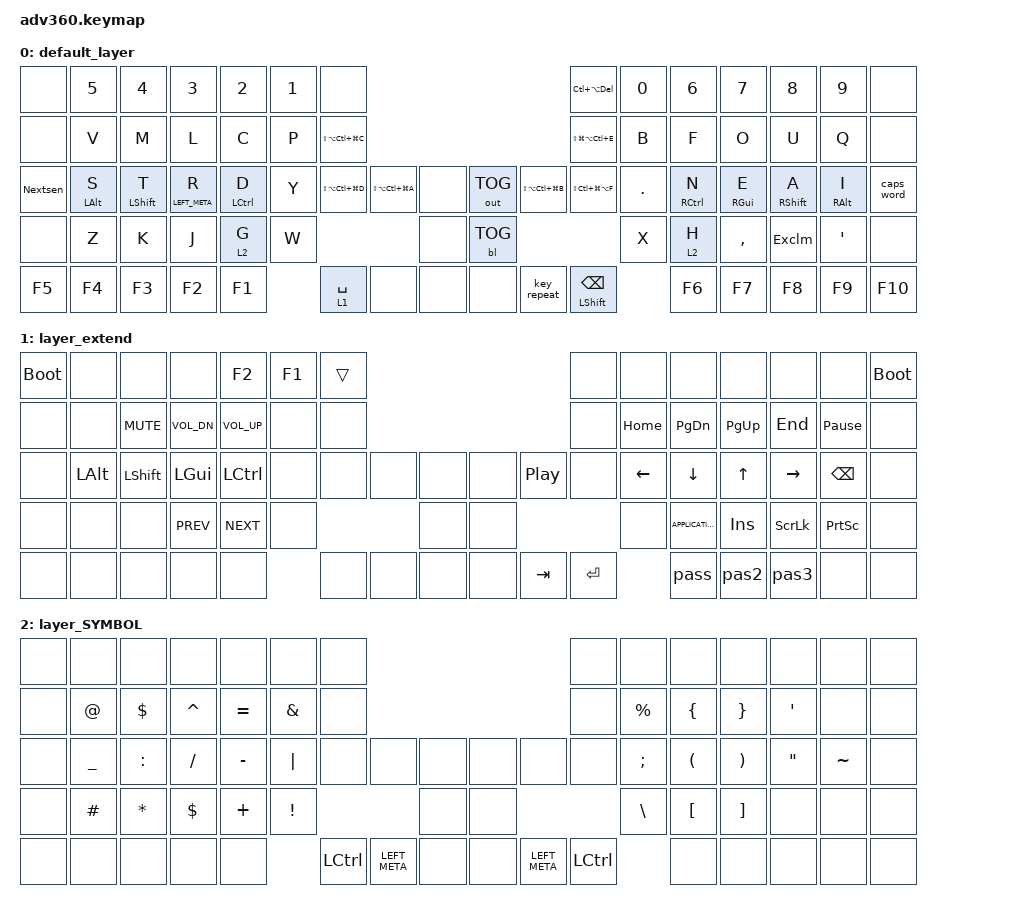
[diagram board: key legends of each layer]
/*
 * Copyright (c) 2020 The ZMK Contributors
 *
 * SPDX-License-Identifier: MIT
 */
/* THIS FILE WAS GENERATED!
 *
 * This file was generated automatically. You may or may not want to
 * edit it directly.
 */

#include <behaviors.dtsi>
#include <dt-bindings/zmk/backlight.h>
#include <dt-bindings/zmk/keys.h>
#include <dt-bindings/zmk/outputs.h>

/ {
    behaviors {
        #include "macros.dtsi"
    #include "version.dtsi"

        hm: homerow_mods {
            compatible = "zmk,behavior-hold-tap";
            label = "HOMEROW_MODS";
            #binding-cells = <2>;
            tapping-term-ms = <200>;
            quick_tap_ms = <175>;
            flavor = "tap-preferred";
            bindings = <&kp>, <&kp>;
        };

        hml: hml {
            compatible = "zmk,behavior-hold-tap";
            label = "HML";
            bindings = <&kp>, <&kp>;

            #binding-cells = <2>;
            flavor = "balanced";
            tapping-term-ms = <280>;
            quick-tap-ms = <175>;
            require-prior-idle-ms = <175>;
            hold-trigger-key-positions = <7 8 9 10 11 12 13 21 22 23 24 25 26 27 38 39 40 41 42 43 44 45 54 55 56 57 58 59 69 70 71 72 73 74 75 37 38 53 68 69>;
            hold-trigger-on-release;
        };

        hmr: hmr {
            compatible = "zmk,behavior-hold-tap";
            label = "HMR";
            bindings = <&kp>, <&kp>;

            #binding-cells = <2>;
            tapping-term-ms = <280>;
            quick-tap-ms = <175>;
            require-prior-idle-ms = <175>;
            flavor = "balanced";
            hold-trigger-key-positions = <0 1 2 3 4 5 6 14 15 16 17 18 19 20 28 29 30 31 32 33 34 35 36 46 47 48 49 50 51 52 60 61 62 63 64 65 66 67>;
            hold-trigger-on-release;
        };

        Exclm: Exclm {
            compatible = "zmk,behavior-mod-morph";
            label = "EXCLM";
            bindings = <&kp EXCL>, <&kp QUESTION>;

            #binding-cells = <0>;
            mods = <(MOD_LSFT)>;
        };

        space: space {
            compatible = "zmk,behavior-hold-tap";
            label = "SPACE";
            bindings = <&sk>, <&kp>;

            #binding-cells = <2>;
            flavor = "balanced";
            quick-tap-ms = <175>;
            require-prior-idle-ms = <175>;
            tapping-term-ms = <280>;
        };

        layer: layer {
            compatible = "zmk,behavior-hold-tap";
            label = "LAYER";
            bindings = <&mo>, <&kp>;

            #binding-cells = <2>;
            tapping-term-ms = <280>;
            quick-tap-ms = <175>;
            require-prior-idle-ms = <175>;
            flavor = "balanced";
        };

        ad_magic: adaptive_magic {
            compatible = "zmk,behavior-antecedent-morph";
            label = "ADAPTIVE_MAGIC";
            #binding-cells = <0>;
            defaults = <&none>;
            bindings = <&kp K>;
            antecedents = <S>;
            max-delay-ms = <250>;
        };
    };

    macros {
        pass: pass {
            compatible = "zmk,behavior-macro";
            #binding-cells = <0>;
            bindings = <&none &kp N1 &kp Q &kp A &kp Z &kp N2 &kp W &kp R &kp X &kp EXCL &kp LS(Q) &kp LS(A) &kp LS(Z) &kp AT &kp LS(W) &kp LS(R) &kp LS(X)>;
            label = "PASS";
        };

        pas2: pas2 {
            compatible = "zmk,behavior-macro";
            #binding-cells = <0>;
            bindings = <&none &kp LS(C) &kp Y &kp B &kp E &kp R &kp LS(W) &kp A &kp R &kp R &kp I &kp O &kp R &kp S &kp N1 &kp N2 &kp N3 &kp EXCL &kp AT &kp POUND>;
            label = "PAS2";
        };

        pas3: pas3 {
            compatible = "zmk,behavior-macro";
            #binding-cells = <0>;
            bindings = <&none &kp N1 &kp Q &kp A &kp Z &kp N2 &kp W &kp S &kp X &kp EXCL &kp LS(Q) &kp LS(A) &kp LS(Z) &kp AT &kp LS(W) &kp LS(S) &kp LS(X)>;
            label = "PAS3";
        };

        org: org {
            compatible = "zmk,behavior-macro";
            #binding-cells = <0>;
            bindings = <&kp PERIOD>;
            label = "ORG";
        };

        Nextsen: Nextsen {
            compatible = "zmk,behavior-macro";
            #binding-cells = <0>;
            bindings = <&kp PERIOD &kp SPACE &sk LEFT_SHIFT>;
            label = "NEXTSEN";
        };
    };

    combos {
        compatible = "zmk,combos";

        escape {
            bindings = <&kp ESCAPE>;
            key-positions = <17 18>;
            require-prior-idle-ms = <175>;
            layers = <0>;
        };

        Repeat {
            bindings = <&key_repeat>;
            key-positions = <31 32>;
            require-prior-idle-ms = <175>;
            layers = <0>;
        };
    };

    keymap {
        compatible = "zmk,keymap";

        default_layer {
            bindings = <
&none     &kp N5           &kp N4             &kp N3            &kp N2        &kp N1  &none                                                                                         &kp LC(LA(DELETE))           &kp N0      &kp N6        &kp N7            &kp N8              &kp NUMBER_9      &none
&none     &kp V            &kp M              &kp L             &kp C         &kp P   &kp LS(LA(LC(LG(C))))                                                                         &kp LS(LG(LA(LC(E))))        &kp B       &kp F         &kp O             &kp U               &kp Q             &none
&Nextsen  &hml LEFT_ALT S  &hml LEFT_SHIFT T  &hml LEFT_META R  &hml LCTRL D  &kp Y   &kp LS(LA(LC(LG(D))))  &kp LS(LA(LC(LG(A))))  &none      &out OUT_TOG  &kp LS(LA(LC(LG(B))))  &kp LS(LC(LG(LA(F))))        &kp PERIOD  &hmr RCTRL N  &hmr RIGHT_GUI E  &hmr RIGHT_SHIFT A  &hmr RIGHT_ALT I  &caps_word
&none     &kp Z            &kp K              &kp J             &layer 2 G    &kp W                                                 &none      &bl BL_TOG                                                        &kp X       &layer 2 H    &kp COMMA         &Exclm              &kp SINGLE_QUOTE  &none
&kp F5    &kp F4           &kp F3             &kp F2            &kp F1                &lt 1 SPACE            &none                  &none      &none         &key_repeat            &space LEFT_SHIFT BACKSPACE              &kp F6        &kp F7            &kp F8              &kp F9            &kp F10
            >;
        };

        layer_extend {
            bindings = <
&bootloader  &none         &none       &none         &kp F2           &kp F1  &trans                                             &none      &none           &none              &none       &none           &none            &bootloader
&none        &none         &kp K_MUTE  &kp C_VOL_DN  &kp C_VOLUME_UP  &none   &none                                              &none      &kp HOME        &kp PG_DN          &kp PG_UP   &kp END         &kp PAUSE_BREAK  &none
&none        &kp LEFT_ALT  &kp LSHFT   &kp LEFT_GUI  &kp LCTRL        &none   &none   &none  &none      &none  &kp C_PLAY_PAUSE  &none      &kp LEFT_ARROW  &kp DOWN           &kp UP      &kp RIGHT       &kp BACKSPACE    &none
&none        &none         &none       &kp C_PREV    &kp C_NEXT       &none                  &none      &none                               &none           &kp K_APPLICATION  &kp INSERT  &kp SCROLLLOCK  &kp PRINTSCREEN  &none
&none        &none         &none       &none         &none                    &none   &none  &none      &none  &kp TAB           &kp ENTER                  &pass              &pas2       &pas3           &none            &none
            >;
        };

        layer_SYMBOL {
            bindings = <
&none  &none      &none       &none       &none      &none            &none                                                      &none      &none          &none                 &none                  &none              &none      &none
&none  &kp AT     &kp DOLLAR  &kp CARET   &kp EQUAL  &kp AMPS         &none                                                      &none      &kp PERCENT    &kp LEFT_BRACE        &kp RIGHT_BRACE        &kp SINGLE_QUOTE   &none      &none
&none  &kp UNDER  &kp COLON   &kp SLASH   &kp MINUS  &kp PIPE         &none      &none          &none      &none  &none          &none      &kp SEMICOLON  &kp LEFT_PARENTHESIS  &kp RIGHT_PARENTHESIS  &kp DOUBLE_QUOTES  &kp TILDE  &none
&none  &kp HASH   &kp ASTRK   &kp DOLLAR  &kp PLUS   &kp EXCLAMATION                            &none      &none                            &kp BACKSLASH  &kp LEFT_BRACKET      &kp RIGHT_BRACKET      &none              &none      &none
&none  &none      &none       &none       &none                       &kp LCTRL  &kp LEFT_META  &none      &none  &kp LEFT_META  &kp LCTRL                 &none                 &none                  &none              &none      &none
            >;
        };
    };
};
